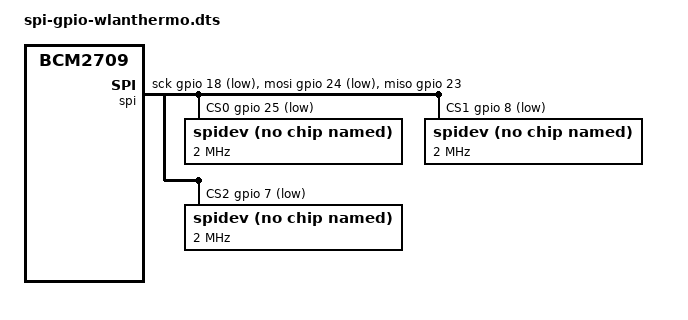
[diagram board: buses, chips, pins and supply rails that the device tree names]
/dts-v1/;
/plugin/;
/{
    compatible = "brcm,bcm2835", "brcm,bcm2836", "brcm,bcm2708", "brcm,bcm2709";
    fragment@0 {
        target = <&spi-gpio0>;
        #address-cells = <1>;
        #size-cells = <0>;
        __overlay__ {
            compatible = "spi-gpio";
            #address-cells = <1>;
            #size-cells = <0>;
            ranges;
            gpio-mosi = <&gpio 24 1>;
            gpio-sck = <&gpio 18 1>;
            gpio-miso = <&gpio 23 0>;
            cs-gpios = <&gpio 25 1>, <&gpio 8 1>, <&gpio 7 1>;
            num-chipselects = <3>;
            status = "ok";
            spidev@1{
                compatible = "spidev";
                reg = <0>;
                spi-max-frequency = <2000000>;
            };
            spidev@2{
                compatible = "spidev";
                reg = <1>;
                spi-max-frequency = <2000000>;
            };
            spidev@3{
                compatible = "spidev";
                reg = <2>;
                spi-max-frequency = <2000000>;
            };
        };
    };
    fragment@1 {
        target = <&gpio>;
        __overlay__ {
            spi-gpio0_pins: spigpio_pins {
                brcm,pins = <24 18 23 25 8 7>;
                brcm,function = <1 1 0 1 1 1>; /* out out in out out out */
            };
        };
    };
    __overrides__ {
        mosi = <&spi-gpio0>, "gpio-mosi:4",
            <&spi-gpio0_pins>, "brcm,pins:0";
        sck = <&spi-gpio0>, "gpio-sck:4",
            <&spi-gpio0_pins>, "brcm,pins:4";
        miso = <&spi-gpio0>, "gpio-miso:4",
            <&spi-gpio0_pins>, "brcm,pins:8";
        cs0 = <&spi-gpio0>, "cs-gpios:4",
            <&spi-gpio0_pins>, "brcm,pins:12";
        cs1 = <&spi-gpio0>, "cs-gpios:16",
            <&spi-gpio0_pins>, "brcm,pins:16";
        cs2 = <&spi-gpio0>, "cs-gpios:28",
            <&spi-gpio0_pins>, "brcm,pins:20";   };

};
